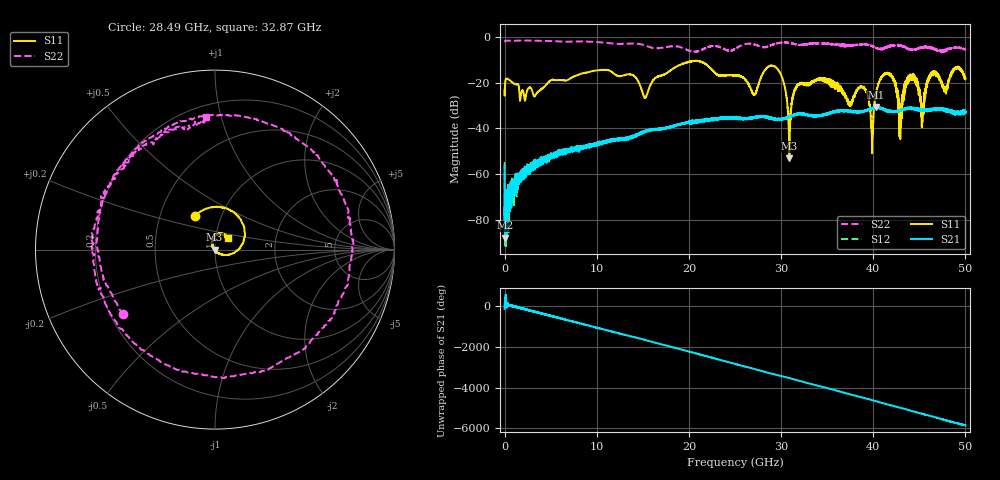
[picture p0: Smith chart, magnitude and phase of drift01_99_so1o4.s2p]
!Created with skrf (http://scikit-rf.org).
# Hz S RI R 50.0
!freq ReS11 ImS11 ReS21 ImS21 ReS12 ImS12 ReS22 ImS22
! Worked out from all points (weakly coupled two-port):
!   10001 points, 300 kHz to 50 GHz, reference 50 ohm
!   highest |S21| = -30.52 dB at 40.28 GHz (marker M1); lowest = -87.9 dB at 55.3 MHz (marker M2)
!   lowest |S11| = -53.1 dB at 30.9 GHz (marker M3), VSWR 1.00, Z = 49.8 - j0.0843 ohm
!   |S11| at or under -10 dB: start of sweep to end of sweep
!   |S22| runs from -6.5 to -1.4 dB; largest |S21 - S12| = 0.0038
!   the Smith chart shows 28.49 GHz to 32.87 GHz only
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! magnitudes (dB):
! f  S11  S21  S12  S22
! 300 kHz  -23.2  -56.6  -54.9  -2.1
! 55.3 MHz  -20.3  -87.9  -72.7  -1.6
! 255.3 MHz  -18.1  -71.0  -77.7  -1.4
! 2.25 GHz  -27.1  -56.9  -58.2  -1.4
! 8.335 GHz  -15.9  -48.3  -48.0  -1.8
! 15.23 GHz  -26.4  -41.0  -41.2  -3.6
! 16.67 GHz  -17.0  -40.2  -40.2  -4.8
! 25 GHz  -16.7  -35.6  -35.3  -5.1
! 27.1 GHz  -25.3  -34.8  -35.1  -3.1
! 29.43 GHz  -13.1  -35.9  -35.9  -2.8
! 30.9 GHz  -53.1  -34.8  -34.8  -2.5
! 31.66 GHz  -21.7  -34.1  -33.8  -3.1
! 33.34 GHz  -19.7  -34.5  -34.2  -2.7
! 38.91 GHz  -22.2  -32.3  -32.6  -3.0
! 39.87 GHz  -46.5  -31.3  -31.1  -3.7
! 40.28 GHz  -25.4  -30.5  -30.8  -4.5
! 41.67 GHz  -16.0  -32.3  -32.4  -4.4
! 42.92 GHz  -32.9  -32.2  -32.2  -3.6
! 43.97 GHz  -17.7  -30.8  -31.0  -5.3
! 45.31 GHz  -35.0  -32.2  -31.9  -4.4
! 46.44 GHz  -15.8  -31.7  -31.9  -4.6
! 50 GHz  -17.8  -33.2  -32.9  -5.4
